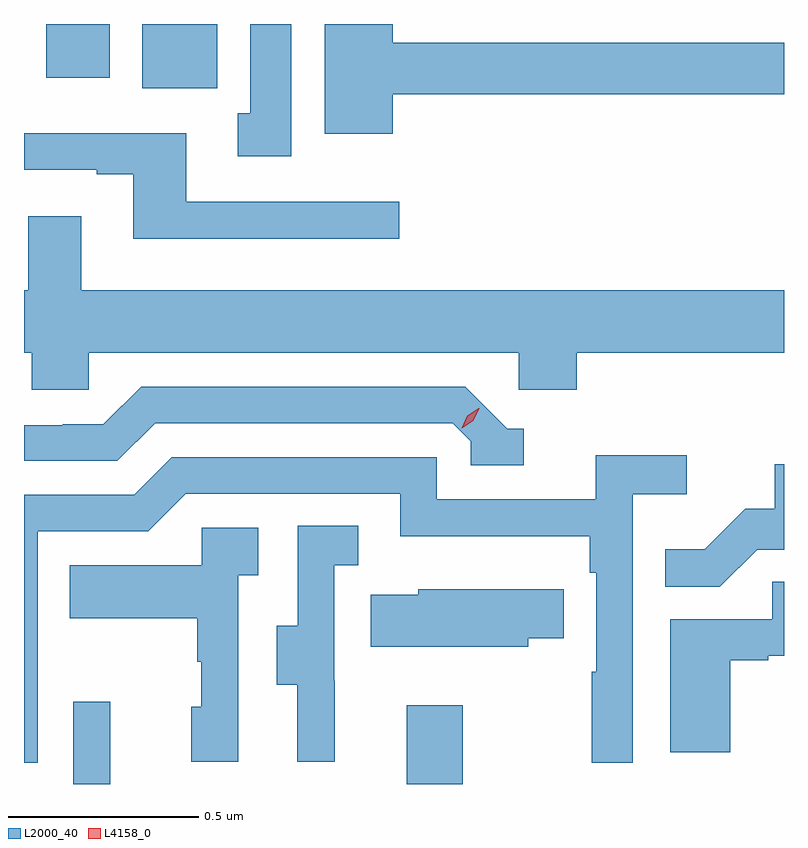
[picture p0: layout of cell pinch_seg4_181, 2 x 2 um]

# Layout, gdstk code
import gdstk
lib = gdstk.Library(unit=1e-6, precision=1e-09)
def R(c, l, rs):  # rectangles x0, y0, x1, y1
    for r in rs: c.add(gdstk.rectangle(r[:2], r[2:], *l))
def P(c, l, *ps):  # polygons
    for p in ps: c.add(gdstk.Polygon(p, *l))
L2000_40 = (2000, 40)
L4158_0 = (4158, 0)

pinch_seg4_181 = lib.new_cell('pinch_seg4_181')
R(pinch_seg4_181, L2000_40, [(1093.731,795.685,1093.829,795.901), (1094.609,795.685,1094.757,795.892), (1093.913,797.516,1094.11,797.685), (1093.661,797.544,1093.828,797.685)])
P(pinch_seg4_181, L2000_40, [(1094.572,797.5),(1095.602,797.5),(1095.602,797.636),(1094.572,797.636),(1094.572,797.685),(1094.393,797.685),(1094.393,797.396),(1094.572,797.396)],
  [(1094.305,797.685),(1094.198,797.685),(1094.198,797.45),(1094.165,797.45),(1094.165,797.337),(1094.305,797.337)],
  [(1094.59,797.217),(1094.029,797.217),(1094.029,797.398),(1093.602,797.398),(1093.602,797.301),(1093.793,797.301),(1093.793,797.289),(1093.889,797.289),(1093.889,797.12),(1094.59,797.12)],
  [(1093.773,796.82),(1094.904,796.82),(1094.904,796.722),(1095.056,796.722),(1095.056,796.82),(1095.602,796.82),(1095.602,796.984),(1093.753,796.984),(1093.753,797.179),(1093.613,797.179),(1093.613,796.984),(1093.602,796.984),(1093.602,796.82),(1093.623,796.82),(1093.623,796.722),(1093.773,796.722)],
  [(1094.917,796.62),(1094.874,796.62),(1094.763,796.731),(1093.91,796.731),(1093.811,796.632),(1093.704,796.632),(1093.704,796.629),(1093.602,796.629),(1093.602,796.536),(1093.848,796.536),(1093.947,796.635),(1094.73,796.635),(1094.778,796.587),(1094.778,796.524),(1094.917,796.524)],
  [(1093.638,796.35),(1093.929,796.35),(1094.028,796.449),(1094.592,796.449),(1094.592,796.337),(1095.091,796.337),(1095.091,796.241),(1095.108,796.241),(1095.108,795.98),(1095.096,795.98),(1095.096,795.741),(1095.204,795.741),(1095.204,796.448),(1095.346,796.448),(1095.346,796.55),(1095.107,796.55),(1095.107,796.434),(1094.688,796.434),(1094.688,796.545),(1093.991,796.545),(1093.892,796.446),(1093.602,796.446),(1093.602,795.741),(1093.638,795.741)],
  [(1095.531,796.302),(1095.602,796.302),(1095.602,796.527),(1095.577,796.527),(1095.577,796.41),(1095.5,796.41),(1095.393,796.303),(1095.289,796.303),(1095.289,796.204),(1095.433,796.204)],
  [(1094.42,795.957),(1094.418,795.957),(1094.418,796.261),(1094.482,796.261),(1094.482,796.364),(1094.322,796.364),(1094.322,796.101),(1094.267,796.101),(1094.267,795.946),(1094.321,795.946),(1094.321,795.744),(1094.42,795.744)],
  [(1094.166,796.235),(1094.218,796.235),(1094.218,796.359),(1094.07,796.359),(1094.07,796.261),(1093.723,796.261),(1093.723,796.121),(1094.058,796.121),(1094.058,796.007),(1094.068,796.007),(1094.068,795.888),(1094.042,795.888),(1094.042,795.744),(1094.166,795.744)],
  [(1095.46,796.011),(1095.56,796.011),(1095.56,796.023),(1095.602,796.023),(1095.602,796.217),(1095.571,796.217),(1095.571,796.119),(1095.302,796.119),(1095.302,795.768),(1095.46,795.768)],
  [(1094.929,796.069),(1095.023,796.069),(1095.023,796.197),(1094.912,796.197),(1094.912,796.198),(1094.64,796.198),(1094.64,796.183),(1094.515,796.183),(1094.515,796.046),(1094.929,796.046)])
P(pinch_seg4_181, L4158_0, [(1094.754,796.621),(1094.754,796.621),(1094.769,796.654),(1094.799,796.674),(1094.8,796.674),(1094.8,796.674),(1094.784,796.641),(1094.754,796.621)])

lib.write_gds('pinch_seg4_181.gds')
